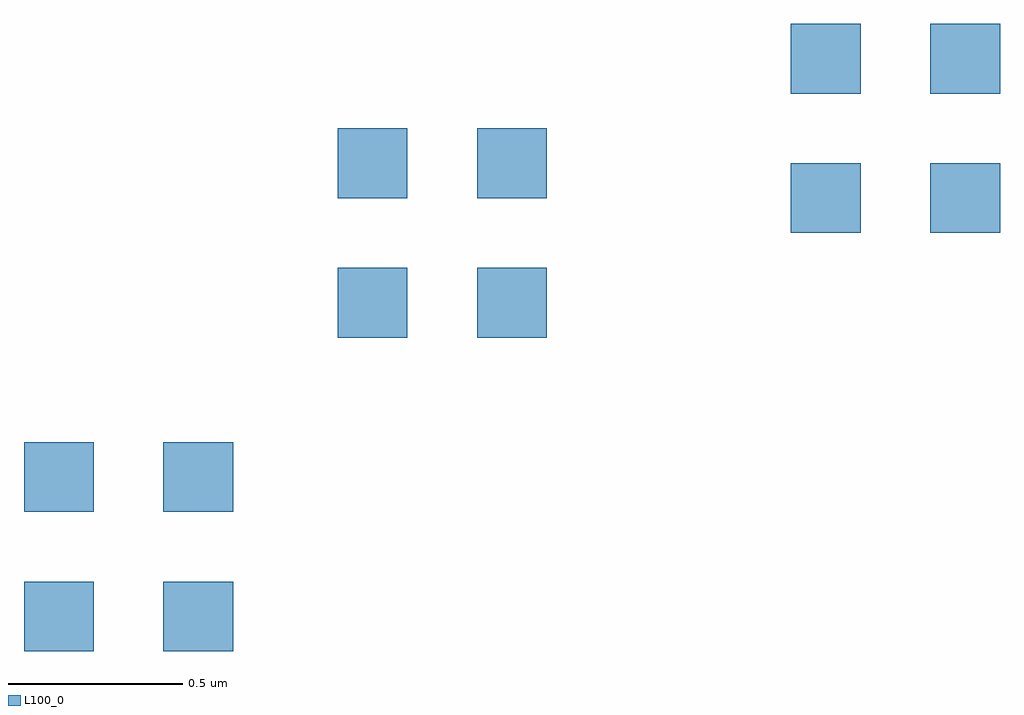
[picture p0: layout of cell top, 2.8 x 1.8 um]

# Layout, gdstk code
import gdstk
lib = gdstk.Library(unit=1e-6, precision=1e-09)
def R(c, l, rs):  # rectangles x0, y0, x1, y1
    for r in rs: c.add(gdstk.rectangle(r[:2], r[2:], *l))
L100_0 = (100, 0)

top = lib.new_cell('top')
R(top, L100_0, [(-0.8,-0.8,-0.6,-0.6), (-0.4,-0.8,-0.2,-0.6), (-0.8,-0.4,-0.6,-0.2), (-0.4,-0.4,-0.2,-0.2), (0.1,0.1,0.3,0.3), (0.5,0.1,0.7,0.3), (1.4,0.4,1.6,0.6), (1.8,0.4,2,0.6), (0.1,0.5,0.3,0.7), (0.5,0.5,0.7,0.7), (1.4,0.8,1.6,1), (1.8,0.8,2,1)])

lib.write_gds('top.gds')
